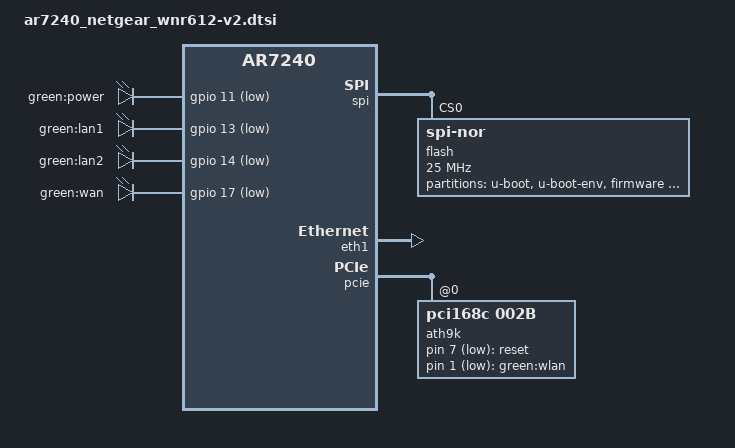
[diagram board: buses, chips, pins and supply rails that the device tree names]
// SPDX-License-Identifier: GPL-2.0-or-later OR MIT

#include "ar7240.dtsi"

#include <dt-bindings/gpio/gpio.h>
#include <dt-bindings/input/input.h>
#include <dt-bindings/mtd/partitions/uimage.h>

/ {
	aliases {
		led-boot = &led_power;
		led-failsafe = &led_power;
		led-running = &led_power;
		led-upgrade = &led_power;
		label-mac-device = &eth1;
	};

	ath9k-keys {
		compatible = "gpio-keys-polled";
		poll-interval = <20>;

		reset {
			label = "reset";
			linux,code = <KEY_RESTART>;
			gpios = <&ath9k 7 GPIO_ACTIVE_LOW>;
			debounce-interval = <60>;
		};
	};

	leds {
		compatible = "gpio-leds";

		pinctrl-names = "default";
		pinctrl-0 = <&jtag_disable_pins &switch_led_disable_pins &clks_disable_pins>;

		led_power: power {
			label = "green:power";
			gpios = <&gpio 11 GPIO_ACTIVE_LOW>;
		};

		lan1 {
			label = "green:lan1";
			gpios = <&gpio 13 GPIO_ACTIVE_LOW>;
		};

		lan2 {
			label = "green:lan2";
			gpios = <&gpio 14 GPIO_ACTIVE_LOW>;
		};

		wan {
			label = "green:wan";
			gpios = <&gpio 17 GPIO_ACTIVE_LOW>;
		};
	};

	ath9k-leds {
		compatible = "gpio-leds";

		wlan {
			label = "green:wlan";
			gpios = <&ath9k 1 GPIO_ACTIVE_LOW>;
			linux,default-trigger = "phy0tpt";
		};
	};
};

&spi {
	status = "okay";

	flash@0 {
		compatible = "jedec,spi-nor";
		reg = <0>;
		spi-max-frequency = <25000000>;

		partitions {
			compatible = "fixed-partitions";
			#address-cells = <1>;
			#size-cells = <1>;

			partition@0 {
				reg = <0x0 0x40000>;
				label = "u-boot";
				read-only;
			};

			partition@40000 {
				reg = <0x40000 0x10000>;
				label = "u-boot-env";
			};

			partition@50000 {
				compatible = "openwrt,uimage", "denx,uimage";
				openwrt,ih-magic = <0x32303631>;
				openwrt,ih-type = <IH_TYPE_FILESYSTEM>;
				reg = <0x50000 0x3a0000>;
				label = "firmware";
			};

			art: partition@3f0000 {
				reg = <0x3f0000 0x10000>;
				label = "art";
				read-only;
			};
		};
	};
};

&eth0 {
	mtd-mac-address = <&art 0x0>;
};

&eth1 {
	status = "okay";

	mtd-mac-address = <&art 0x6>;
};

&pcie {
	status = "okay";

	ath9k: wifi@0,0 {
		compatible = "pci168c,002b";
		reg = <0x0000 0 0 0 0>;
		mtd-mac-address = <&art 0x0>;
		mtd-mac-address-increment = <1>;
		qca,no-eeprom;
		#gpio-cells = <2>;
		gpio-controller;
	};
};
